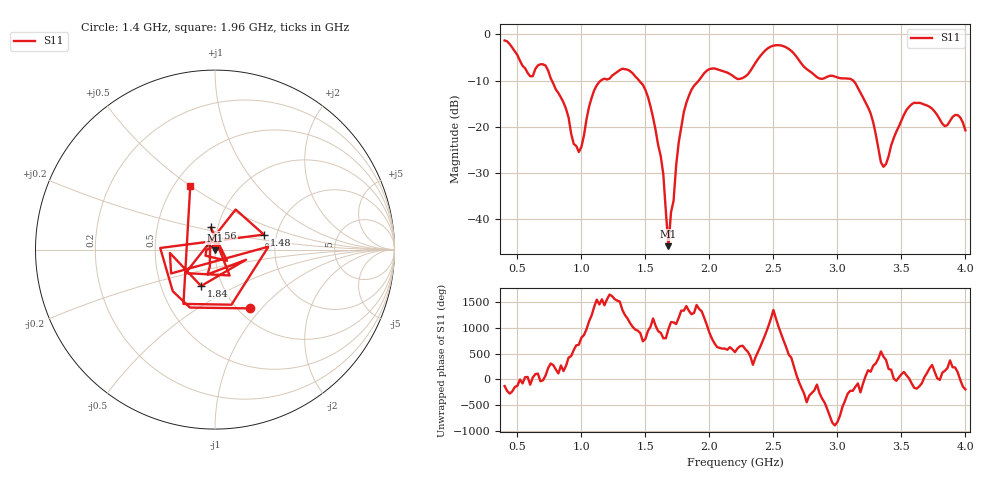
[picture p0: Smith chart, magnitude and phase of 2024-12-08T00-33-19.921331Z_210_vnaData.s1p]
!Created with skrf (http://scikit-rf.org).
# Hz S RI R 50.0
!freq ReS11 ImS11
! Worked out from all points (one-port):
!   181 points, 400 MHz to 4 GHz, reference 50 ohm
!   lowest |S11| = -45.8 dB at 1.68 GHz (marker M1), VSWR 1.01, Z = 49.9 - j0.495 ohm
!   |S11| at or under -10 dB: 769.2 MHz to 1.152 GHz (382.7 MHz wide, 39.8 % of centre); 1.451 GHz to 1.916 GHz (465.2 MHz wide, 27.6 % of centre); 3.123 GHz to end of sweep
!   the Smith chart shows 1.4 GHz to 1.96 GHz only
!   S11 on the Smith chart (normalised r, x): 1.4 GHz: 1.13, -0.86; 1.48 GHz: 1.71, +0.31; 1.56 GHz: 0.92, +0.23; 1.84 GHz: 0.79, -0.34; 1.96 GHz: 0.60, +0.50
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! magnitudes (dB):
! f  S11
! 400 MHz  -1.3
! 600 MHz  -9.1
! 720 MHz  -6.7
! 860 MHz  -14.7
! 940 MHz  -23.7
! 980 MHz  -25.5
! 1.1 GHz  -12.1
! 1.3 GHz  -7.7
! 1.4 GHz  -8.4
! 1.48 GHz  -10.9
! 1.56 GHz  -18.0
! 1.64 GHz  -30.3
! 1.68 GHz  -45.8
! 1.76 GHz  -23.4
! 1.84 GHz  -13.3
! 1.96 GHz  -8.4
! 2.2 GHz  -9.3
! 2.48 GHz  -2.6
! 2.66 GHz  -4.1
! 2.86 GHz  -9.5
! 3.1 GHz  -9.6
! 3.26 GHz  -17.1
! 3.36 GHz  -28.6
! 3.56 GHz  -15.7
! 3.72 GHz  -15.7
! 3.84 GHz  -19.9
! 3.94 GHz  -17.5
! 4 GHz  -20.8
